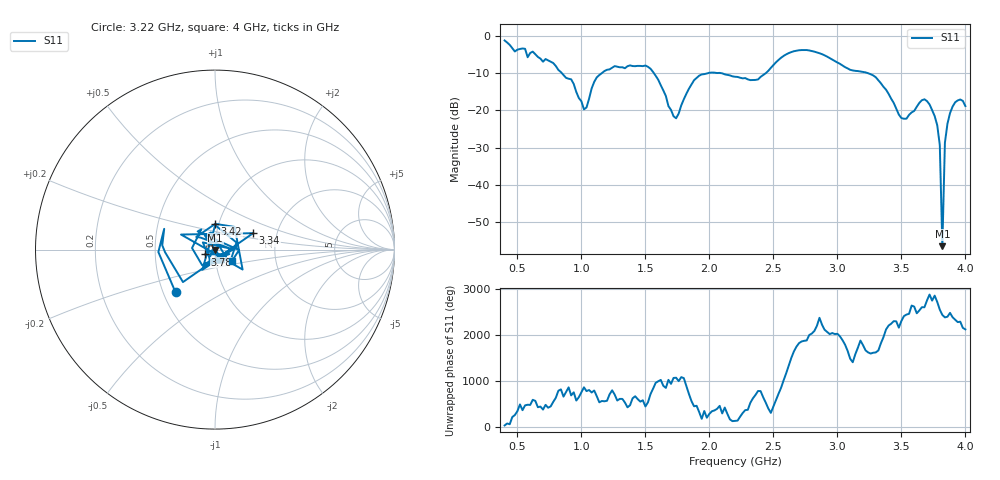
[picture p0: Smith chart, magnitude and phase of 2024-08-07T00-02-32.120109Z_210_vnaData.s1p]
!Created with skrf (http://scikit-rf.org).
# Hz S RI R 50.0
!freq ReS11 ImS11
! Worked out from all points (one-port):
!   181 points, 400 MHz to 4 GHz, reference 50 ohm
!   lowest |S11| = -56.5 dB at 3.82 GHz (marker M1), VSWR 1.00, Z = 50 - j0.146 ohm
!   |S11| at or under -10 dB: 1.566 GHz to 1.988 GHz (421.8 MHz wide, 23.7 % of centre); 2.093 GHz to 2.44 GHz (347.1 MHz wide, 15.3 % of centre); 3.239 GHz to end of sweep (the widest 3 of 4)
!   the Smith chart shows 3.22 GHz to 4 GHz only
!   S11 on the Smith chart (normalised r, x): 3.22 GHz: 0.58, -0.31; 3.34 GHz: 1.51, +0.29; 3.42 GHz: 0.96, +0.28; 3.78 GHz: 0.89, -0.05; 4 GHz: 1.20, -0.16
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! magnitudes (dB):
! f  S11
! 400 MHz  -1.2
! 860 MHz  -10.5
! 920 MHz  -11.7
! 1.02 GHz  -19.7
! 1.12 GHz  -11.1
! 1.3 GHz  -8.4
! 1.54 GHz  -8.8
! 1.72 GHz  -21.6
! 1.76 GHz  -20.9
! 1.92 GHz  -10.7
! 2.2 GHz  -11.0
! 2.38 GHz  -11.7
! 2.66 GHz  -4.1
! 2.86 GHz  -4.6
! 3.1 GHz  -9.1
! 3.22 GHz  -9.8
! 3.34 GHz  -12.7
! 3.42 GHz  -16.9
! 3.5 GHz  -22.1
! 3.56 GHz  -21.2
! 3.68 GHz  -17.0
! 3.78 GHz  -24.0
! 3.8 GHz  -29.4
! 3.82 GHz  -56.5
! 3.84 GHz  -28.7
! 3.86 GHz  -23.6
! 3.92 GHz  -17.8
! 4 GHz  -18.9
